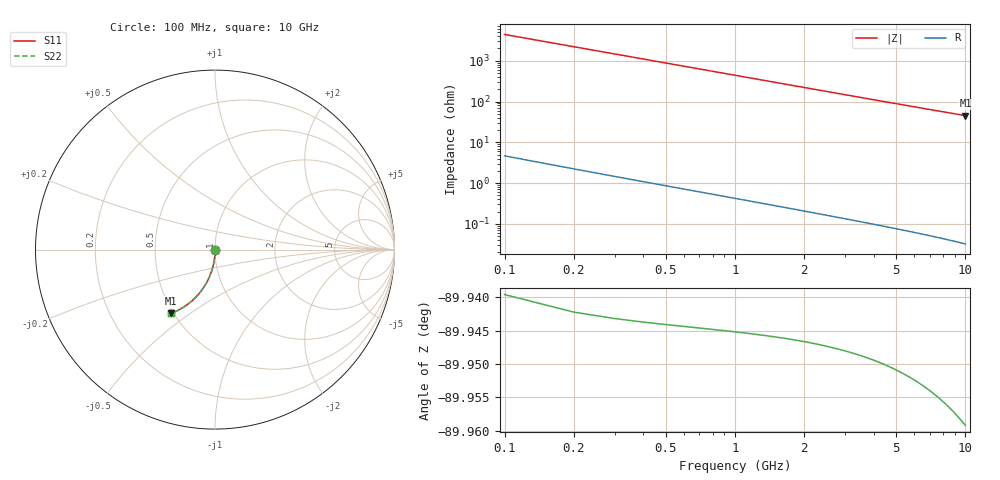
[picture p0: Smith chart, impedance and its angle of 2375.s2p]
# Hz S RI R 50.00
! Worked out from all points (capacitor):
!   100 points, 100 MHz to 10 GHz, reference 50 ohm
!   read as one part in shunt: C = 361 fF near 100 MHz
!   lowest |Z| = 45.2 ohm at 10 GHz (marker M1)
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1e8  0.00047 -0.0049  0.9995 -0.00643  0.9995 -0.00643  0.00047 -0.0049
2e8  0.000373 -0.0098  0.9993 -0.0129  0.9993 -0.0129  0.000373 -0.0098
3e8  0.000213 -0.0147  0.9992 -0.0193  0.9992 -0.0193  0.000213 -0.0147
4e8  -1.09e-05 -0.0196  0.9989 -0.0257  0.9989 -0.0257  -1.09e-05 -0.0196
5e8  -0.000298 -0.0245  0.9986 -0.0321  0.9986 -0.0321  -0.000298 -0.0245
6e8  -0.000648 -0.0294  0.9983 -0.0385  0.9983 -0.0385  -0.000648 -0.0294
7e8  -0.00106 -0.0342  0.9978 -0.0449  0.9978 -0.0449  -0.00106 -0.0342
8e8  -0.00154 -0.0391  0.9973 -0.0513  0.9973 -0.0513  -0.00154 -0.0391
9e8  -0.00207 -0.044  0.9968 -0.0577  0.9968 -0.0577  -0.00207 -0.044
1.1e9  -0.00334 -0.0537  0.9955 -0.0705  0.9955 -0.0705  -0.00334 -0.0537
1.4e9  -0.00569 -0.0681  0.993 -0.0895  0.993 -0.0895  -0.00569 -0.0681
1.8e9  -0.00968 -0.0872  0.9889 -0.1147  0.9889 -0.1147  -0.00968 -0.0872
2.1e9  -0.0133 -0.1013  0.9851 -0.1335  0.9851 -0.1335  -0.0133 -0.1013
2.5e9  -0.0189 -0.1199  0.9792 -0.1581  0.9792 -0.1581  -0.0189 -0.1199
2.9e9  -0.0255 -0.138  0.9724 -0.1824  0.9724 -0.1824  -0.0255 -0.138
3.4e9  -0.0349 -0.1601  0.9626 -0.2121  0.9626 -0.2121  -0.0349 -0.1601
4.2e9  -0.0526 -0.1937  0.9442 -0.258  0.9442 -0.258  -0.0526 -0.1937
5.1e9  -0.076 -0.2286  0.9198 -0.3069  0.9198 -0.3069  -0.076 -0.2286
5.9e9  -0.0994 -0.2569  0.8953 -0.3475  0.8953 -0.3475  -0.0994 -0.2569
6.7e9  -0.1249 -0.2823  0.8686 -0.3853  0.8686 -0.3853  -0.1249 -0.2823
8.4e9  -0.1843 -0.3262  0.8061 -0.4558  0.8061 -0.4558  -0.1843 -0.3262
1e10  -0.2436 -0.3552  0.7431 -0.51  0.7431 -0.51  -0.2436 -0.3552
